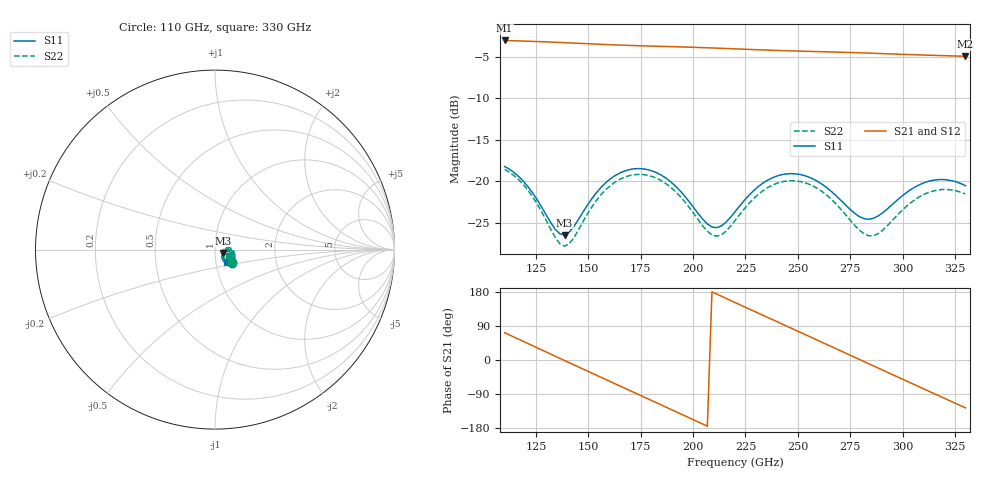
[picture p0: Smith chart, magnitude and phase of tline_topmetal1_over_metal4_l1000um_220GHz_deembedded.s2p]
! Created with skrf 2.0.1 (http://scikit-rf.org).
# GHz S DB R 50.0
!freq dBS11 angS11 dBS21 angS21 dBS12 angS12 dBS22 angS22
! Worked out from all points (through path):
!   101 points, 110 GHz to 330 GHz, reference 50 ohm
!   highest |S21| = -3.02 dB at 110 GHz (marker M1); lowest = -4.9 dB at 330 GHz (marker M2)
!   group delay of S21, straight-line fit = 7.05 ps
!   lowest |S11| = -26.5 dB at 138.6 GHz (marker M3), VSWR 1.10, Z = 54.5 - j2.12 ohm
!   |S11| at or under -10 dB: start of sweep to end of sweep
!   |S22| runs from -27.8 to -18.6 dB; largest |S21 - S12| = 7.4e-14
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110  -18.21 -37.7  -3.02 72.0  -3.02 72.0  -18.57 -34.5
125.4  -22.17 -52.9  -3.15 32.5  -3.15 32.5  -22.67 -50.6
138.6  -26.46 -24.0  -3.29 -1.3  -3.29 -1.3  -27.82 -20.3
147.4  -23.72 -1.5  -3.39 -23.8  -3.39 -23.8  -24.87 6.9
158.4  -20.15 -4.8  -3.52 -51.7  -3.52 -51.7  -20.99 4.4
167.2  -18.76 -16.0  -3.60 -74.0  -3.60 -74.0  -19.51 -6.5
176  -18.49 -28.8  -3.67 -96.3  -3.67 -96.3  -19.19 -19.3
184.8  -19.26 -41.0  -3.74 -118.6  -3.74 -118.6  -19.92 -31.3
202.4  -23.88 -47.7  -3.87 -163.4  -3.87 -163.4  -24.62 -38.7
211.2  -25.60 -27.7  -3.95 174.1  -3.95 174.1  -26.62 -18.2
220  -23.67 -9.8  -4.04 151.8  -4.04 151.8  -24.73 1.7
231  -20.66 -11.1  -4.14 123.9  -4.14 123.9  -21.60 1.4
239.8  -19.38 -20.5  -4.22 101.7  -4.22 101.7  -20.26 -7.8
248.6  -19.09 -31.7  -4.29 79.5  -4.29 79.5  -19.94 -19.1
257.4  -19.73 -42.2  -4.35 57.2  -4.35 57.2  -20.58 -30.1
268.4  -21.77 -49.7  -4.43 29.4  -4.43 29.4  -22.77 -38.8
277.2  -23.87 -44.8  -4.50 7.0  -4.50 7.0  -25.33 -34.8
286  -24.47 -29.1  -4.57 -15.3  -4.57 -15.3  -26.56 -15.6
294.8  -22.86 -18.9  -4.65 -37.6  -4.65 -37.6  -24.80 -0.5
312.4  -20.00 -28.1  -4.80 -82.0  -4.80 -82.0  -21.34 -7.3
321.2  -19.82 -37.9  -4.87 -104.2  -4.87 -104.2  -20.99 -16.8
330  -20.52 -47.0  -4.93 -126.3  -4.93 -126.3  -21.53 -25.7
